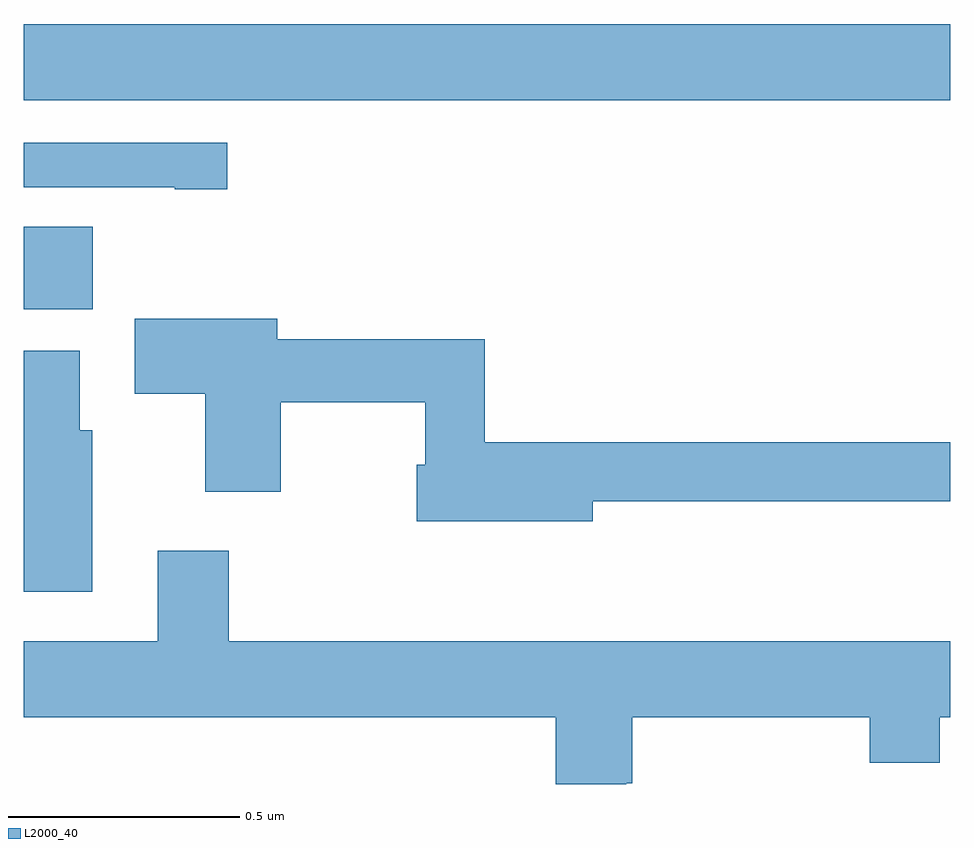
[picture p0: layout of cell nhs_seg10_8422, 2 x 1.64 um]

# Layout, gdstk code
import gdstk
lib = gdstk.Library(unit=1e-6, precision=1e-09)
def R(c, l, rs):  # rectangles x0, y0, x1, y1
    for r in rs: c.add(gdstk.rectangle(r[:2], r[2:], *l))
def P(c, l, *ps):  # polygons
    for p in ps: c.add(gdstk.Polygon(p, *l))
L2000_40 = (2000, 40)

nhs_seg10_8422 = lib.new_cell('nhs_seg10_8422')
R(nhs_seg10_8422, L2000_40, [(216,1306.524,216.149,1306.703), (216,1306.976,218,1307.14)])
P(nhs_seg10_8422, L2000_40, [(216.439,1306.884),(216,1306.884),(216,1306.788),(216.326,1306.788),(216.326,1306.783),(216.439,1306.783)],
  [(217.228,1306.11),(218,1306.11),(218,1306.238),(216.995,1306.238),(216.995,1306.46),(216.547,1306.46),(216.547,1306.504),(216.24,1306.504),(216.24,1306.342),(216.392,1306.342),(216.392,1306.131),(216.555,1306.131),(216.555,1306.324),(216.867,1306.324),(216.867,1306.189),(216.848,1306.189),(216.848,1306.067),(217.228,1306.067)],
  [(216.148,1306.263),(216.121,1306.263),(216.121,1306.435),(216,1306.435),(216,1305.915),(216.148,1305.915)],
  [(217.3,1305.502),(217.313,1305.502),(217.313,1305.644),(217.826,1305.644),(217.826,1305.546),(217.977,1305.546),(217.977,1305.644),(218,1305.644),(218,1305.808),(216.443,1305.808),(216.443,1306.003),(216.29,1306.003),(216.29,1305.808),(216,1305.808),(216,1305.644),(217.148,1305.644),(217.148,1305.5),(217.3,1305.5)])

lib.write_gds('nhs_seg10_8422.gds')
